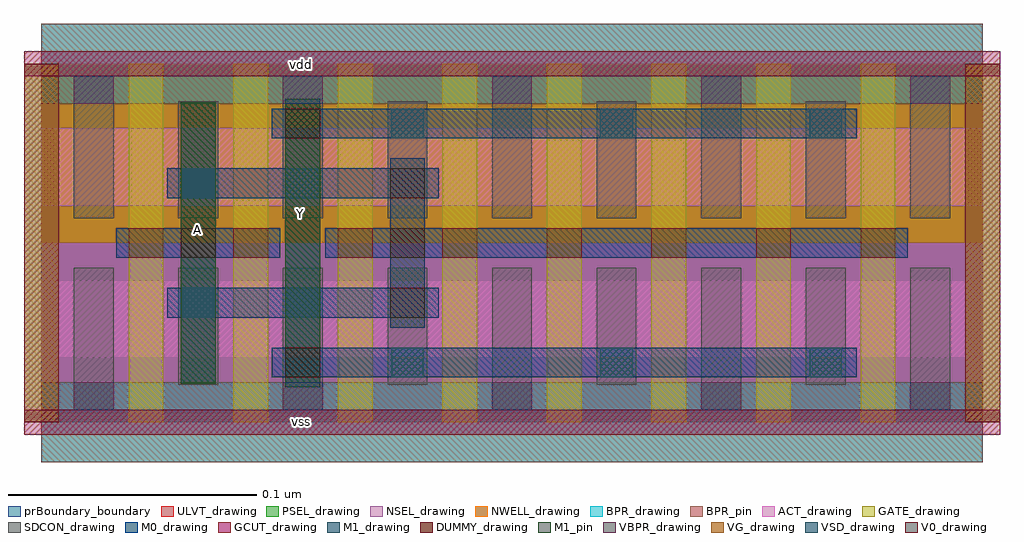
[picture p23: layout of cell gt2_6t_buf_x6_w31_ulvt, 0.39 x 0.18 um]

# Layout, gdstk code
import gdstk
lib = gdstk.Library(unit=1e-6, precision=5e-10)
def R(c, l, rs):  # rectangles x0, y0, x1, y1
    for r in rs: c.add(gdstk.rectangle(r[:2], r[2:], *l))
def A(c, l, x, y, w, h, nx, ny, dx, dy):  # array of equal rectangles
    R(c, l, [(x+i*dx, y+j*dy, x+i*dx+w, y+j*dy+h) for i in range(nx) for j in range(ny)])
NWELL_drawing = (1, 0)
ACT_drawing = (2, 0)
GATE_drawing = (3, 0)
DUMMY_drawing = (4, 0)
GCUT_drawing = (5, 0)
NSEL_drawing = (6, 0)
PSEL_drawing = (7, 0)
BPR_drawing = (8, 0)
BPR_pin = (8, 251)
VBPR_drawing = (9, 0)
SDCON_drawing = (10, 0)
VSD_drawing = (11, 0)
VG_drawing = (12, 0)
M0_drawing = (20, 0)
V0_drawing = (22, 0)
M1_drawing = (25, 0)
M1_pin = (25, 251)
ULVT_drawing = (95, 0)
prBoundary_boundary = (235, 250)

gt2_6t_buf_x6_w31_ulvt = lib.new_cell('gt2_6t_buf_x6_w31_ulvt')
R(gt2_6t_buf_x6_w31_ulvt, NWELL_drawing, [(0,0.072,0.378,0.144)])
R(gt2_6t_buf_x6_w31_ulvt, ACT_drawing, [(0,0.026,0.378,0.057), (0,0.087,0.378,0.118)])
A(gt2_6t_buf_x6_w31_ulvt, GATE_drawing, -0.007, 0, 0.014, 0.144, 9, 1, 0.042, 0)
R(gt2_6t_buf_x6_w31_ulvt, GATE_drawing, [(0.329,0,0.343,0.144), (0.371,0,0.385,0.144)])
R(gt2_6t_buf_x6_w31_ulvt, DUMMY_drawing, [(-0.007,0,0.007,0.144), (0.371,0,0.385,0.144)])
R(gt2_6t_buf_x6_w31_ulvt, GCUT_drawing, [(-0.007,-0.005,0.385,0.005), (-0.007,0.139,0.385,0.149)])
R(gt2_6t_buf_x6_w31_ulvt, NSEL_drawing, [(0,0,0.378,0.072)])
R(gt2_6t_buf_x6_w31_ulvt, PSEL_drawing, [(0,0.072,0.378,0.144)])
R(gt2_6t_buf_x6_w31_ulvt, BPR_drawing, [(0,-0.016,0.378,0.016), (0,0.128,0.378,0.16)])
R(gt2_6t_buf_x6_w31_ulvt, BPR_pin, [(0,-0.016,0.378,0.016), (0,0.128,0.378,0.16)])
A(gt2_6t_buf_x6_w31_ulvt, VBPR_drawing, 0.013, 0.005, 0.016, 0.011, 5, 2, 0.084, 0.123)
A(gt2_6t_buf_x6_w31_ulvt, SDCON_drawing, 0.013, 0.005, 0.016, 0.057, 5, 2, 0.084, 0.077)
A(gt2_6t_buf_x6_w31_ulvt, SDCON_drawing, 0.055, 0.015, 0.016, 0.047, 4, 2, 0.084, 0.067)
A(gt2_6t_buf_x6_w31_ulvt, VSD_drawing, 0.1405, 0.018, 0.013, 0.012, 3, 2, 0.084, 0.096)
R(gt2_6t_buf_x6_w31_ulvt, VSD_drawing, [(0.0565,0.042,0.0695,0.054), (0.0565,0.09,0.0695,0.102)])
A(gt2_6t_buf_x6_w31_ulvt, VG_drawing, 0.035, 0.066, 0.014, 0.012, 8, 1, 0.042, 0)
R(gt2_6t_buf_x6_w31_ulvt, M0_drawing, [(0.0925,0.018,0.3275,0.03), (0.0505,0.042,0.1595,0.054), (0.03,0.066,0.096,0.078), (0.114,0.066,0.348,0.078), (0.0505,0.09,0.1595,0.102), (0.0925,0.114,0.3275,0.126)])
A(gt2_6t_buf_x6_w31_ulvt, V0_drawing, 0.14, 0.042, 0.014, 0.012, 1, 3, 0, 0.024)
R(gt2_6t_buf_x6_w31_ulvt, V0_drawing, [(0.098,0.018,0.112,0.03), (0.056,0.066,0.07,0.078), (0.098,0.114,0.112,0.126)])
R(gt2_6t_buf_x6_w31_ulvt, M1_drawing, [(0.098,0.014,0.112,0.13), (0.056,0.0155,0.07,0.1285), (0.14,0.038,0.154,0.106)])
R(gt2_6t_buf_x6_w31_ulvt, M1_pin, [(0.098,0.014,0.112,0.13), (0.056,0.0155,0.07,0.1285)])
R(gt2_6t_buf_x6_w31_ulvt, ULVT_drawing, [(0,0,0.378,0.144)])
R(gt2_6t_buf_x6_w31_ulvt, prBoundary_boundary, [(0,0,0.378,0.144)])
gt2_6t_buf_x6_w31_ulvt.add(gdstk.Label('vdd', (0.1045,0.1435), layer=8, texttype=251))
gt2_6t_buf_x6_w31_ulvt.add(gdstk.Label('vss', (0.1045,0.0005), layer=8, texttype=251))
gt2_6t_buf_x6_w31_ulvt.add(gdstk.Label('Y', (0.104,0.084), layer=25, texttype=251))
gt2_6t_buf_x6_w31_ulvt.add(gdstk.Label('A', (0.0625,0.0775), layer=25, texttype=251))

lib.write_gds('gt2_6t_buf_x6_w31_ulvt.gds')
